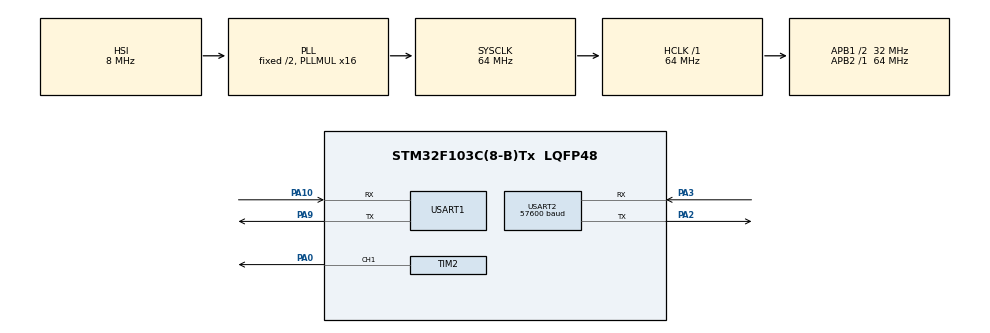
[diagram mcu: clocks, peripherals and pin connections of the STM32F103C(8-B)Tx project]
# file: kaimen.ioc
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Mcu.Family=STM32F1
Mcu.Name=STM32F103C(8-B)Tx
Mcu.Package=LQFP48
NVIC.PriorityGroup=NVIC_PRIORITYGROUP_4
NVIC.USART1_IRQn=true\:0\:0\:false\:false\:true\:true\:true
NVIC.USART2_IRQn=true\:0\:0\:false\:false\:true\:true\:true
PA0-WKUP.Signal=S_TIM2_CH1_ETR
PA10.Mode=Asynchronous
PA10.Signal=USART1_RX
PA13.Mode=Serial_Wire
PA13.Signal=SYS_JTMS-SWDIO
PA14.Mode=Serial_Wire
PA14.Signal=SYS_JTCK-SWCLK
PA2.Mode=Asynchronous
PA2.Signal=USART2_TX
PA3.Mode=Asynchronous
PA3.Signal=USART2_RX
PA9.Mode=Asynchronous
PA9.Signal=USART1_TX
ProjectManager.HeapSize=0x200
ProjectManager.StackSize=0x400
ProjectManager.TargetToolchain=MDK-ARM V5.27
RCC.AHBFreq_Value=64000000
RCC.APB1CLKDivider=RCC_HCLK_DIV2
RCC.APB1Freq_Value=32000000
RCC.APB1TimFreq_Value=64000000
RCC.APB2Freq_Value=64000000
RCC.APB2TimFreq_Value=64000000
RCC.HCLKFreq_Value=64000000
RCC.PLLMUL=RCC_PLL_MUL16
RCC.SYSCLKFreq_VALUE=64000000
RCC.SYSCLKSource=RCC_SYSCLKSOURCE_PLLCLK
RCC.USBFreq_Value=64000000
SH.S_TIM2_CH1_ETR.0=TIM2_CH1,PWM Generation1 CH1
TIM2.AutoReloadPreload=TIM_AUTORELOAD_PRELOAD_ENABLE
TIM2.Channel-PWM\ Generation1\ CH1=TIM_CHANNEL_1
TIM2.OCFastMode_PWM-PWM\ Generation1\ CH1=TIM_OCFAST_ENABLE
TIM2.Period=1000-1
TIM2.Prescaler=64-1
TIM2.Pulse-PWM\ Generation1\ CH1=2000
USART1.VirtualMode=VM_ASYNC
USART2.BaudRate=57600
USART2.VirtualMode=VM_ASYNC
VP_TIM2_VS_ClockSourceINT.Mode=Internal
board=custom

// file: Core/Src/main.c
/* USER CODE BEGIN Header */
/**
  ******************************************************************************
  * @file           : main.c
  * @brief          : Main program body
  ******************************************************************************
  * @attention
  *
  * <h2><center>&copy; Copyright (c) 2021 STMicroelectronics.
  * All rights reserved.</center></h2>
  *
  * This software component is licensed by ST under BSD 3-Clause license,
  * the "License"; You may not use this file except in compliance with the
  * License. You may obtain a copy of the License at:
  *                        opensource.org/licenses/BSD-3-Clause
  *
  ******************************************************************************
  */
/* USER CODE END Header */
#include "main.h"

/* USER CODE BEGIN Includes */
#include "manager.h"
#include "string.h"
#include "as608.h"
/* USER CODE END Includes */

/* USER CODE BEGIN PD */
uint8_t UartRe,UartRe_Buf[255],UARTReED=0;
uint8_t ID[100][5],ID_num=0;
uint8_t Open=0,Flag=0;
/* USER CODE END PD */

TIM_HandleTypeDef htim2;

UART_HandleTypeDef huart1;
UART_HandleTypeDef huart2;

void SystemClock_Config(void);
static void MX_GPIO_Init(void);
static void MX_TIM2_Init(void);
static void MX_USART1_UART_Init(void);
static void MX_USART2_UART_Init(void);

/* USER CODE BEGIN 0 */
void MainEventHandler(uint16_t event)
{
		char Del[30]="",Dell[30]="";
		char Car[5]="",flag=0;
	switch(event)
	{
		case EVENT_DEL:
			for(uint8_t i=0;i<100;++i)
			if(!strcmp((char *)ID[i],(char *)UartRe_Buf))
			{
					strcpy((char *)ID[i],"");
					flag=1;
					ID_num--;
					break;
			}
			if(!flag)
					HAL_UART_Transmit_IT(&huart1,(uint8_t*)"DEL unsuccessful!",16);
			else
					HAL_UART_Transmit_IT(&huart1,(uint8_t*)"DEL succesful!",14);
		break;

		case EVENT_ADD:

			for(uint8_t i=0;i<100;++i)
			{
				if(!strcmp((char *)ID[i],""))
				{
					strcpy((char *)ID[i],(char *)UartRe_Buf);
					flag=1;
					ID_num++;
					break;
				}
				if(!strcmp((char *)ID[i],(char *)UartRe_Buf))
				{
					flag=1;
					break;
				}
			}
			if(!flag)
					HAL_UART_Transmit_IT(&huart1,(uint8_t*)"ADD unsuccessful!",16);
			else
					HAL_UART_Transmit_IT(&huart1,(uint8_t*)"ADD succesful!",14);
		break;

		case EVENT_open:
				HAL_TIM_PWM_Start(&htim2, TIM_CHANNEL_1);
  //HAL_Delay(1000);

					htim2.Instance->CCR1=78;
					HAL_Delay(1200);
					htim2.Instance->CCR1=200;
					HAL_Delay(1000);

				HAL_TIM_PWM_Stop(&htim2, TIM_CHANNEL_1);
		break;

		case EVENT_OPEN:
			for(uint8_t i=0;i<100;++i)
			if(strcmp((char *)ID[i],"") && !strcmp((char *)ID[i],(char *)UartRe_Buf))
			{
				HAL_TIM_PWM_Start(&htim2, TIM_CHANNEL_1);
  //HAL_Delay(1000);

					htim2.Instance->CCR1=78;
					HAL_Delay(1200);
					htim2.Instance->CCR1=200;
					HAL_Delay(1000);

				HAL_TIM_PWM_Stop(&htim2, TIM_CHANNEL_1);

					flag=1;
					break;
			}
			if(!flag)
					HAL_UART_Transmit_IT(&huart1,(uint8_t*)"Your ID is Error!",17);
			else
					HAL_UART_Transmit_IT(&huart1,(uint8_t*)"Welcom!",7);
		break;

		case EVENT_USART:

				if(!strcmp((char *)UartRe_Buf,"Open") && Flag)
				{
					Flag=0;
					HAL_UART_Transmit_IT(&huart1,(uint8_t*)"Please Enter your ID",20);
					HAL_Delay(200);
					PushEvent(EVENT_OPEN);
					break;
				}

				if(!strcmp((char *)UartRe_Buf,"Addn") && Flag)
				{
					Flag=0;
					HAL_UART_Transmit_IT(&huart1,(uint8_t*)"Please Enter your ID",20);
					HAL_Delay(200);
					PushEvent(EVENT_ADD);
					break;
				}
				if(!strcmp((char *)UartRe_Buf,"Addi") && Flag)
				{
					Flag=0;
					Add_FR();
					break;
				}
				if(!strcmp((char *)UartRe_Buf,"Kaim") && Flag)
				{
					Flag=0;
					HAL_Delay(200);
					HAL_UART_Transmit_IT(&huart1,(uint8_t*)"Enter:",6);

					press_FR();
					break;
				}
				if(!strcmp((char *)UartRe_Buf,"Delt") && Flag)
				{
					Flag=0;
					HAL_UART_Transmit_IT(&huart1,(uint8_t*)"Please Enter your ID",20);
					HAL_Delay(200);
					PushEvent(EVENT_DEL);
					break;
				}

				if(!strcmp((char *)UartRe_Buf,"0113"))
				{
					Flag=1;
					HAL_UART_Transmit_IT(&huart1,(uint8_t*)"Welcome Admin!",14);
					break;
				}
				HAL_UART_Transmit_IT(&huart1,(uint8_t*)"PIN Error!",10);
		break;

		case EVENT_FR:
			press_FR();
		break;
	}
	//break;

}
uint8_t UartRe2;
void HAL_UART_RxCpltCallback(UART_HandleTypeDef *huart)
{
		if(huart->Instance == USART1)
		{
			UNUSED(huart1);
			UartRe_Buf[UARTReED]=UartRe;
			if(UARTReED<4)UARTReED++;
			if(UartRe=='R')
			{
				UARTReED=0;
			}

			if(UARTReED == 4)
			{
				PushEvent(EVENT_USART);
				UARTReED=0;
			}
			HAL_UART_Receive_IT(&huart1,(uint8_t*)&UartRe,1);
		}

//		if(huart->Instance == USART2)
//		{
//			UNUSED(huart2);
////			if(USART2_RX_STA<USART2_MAX_RECV_LEN)
////				USART2_RX_BUF[USART2_RX_STA++]=UartRe2;
////			if(USART2_RX_STA == USART2_MAX_RECV_LEN)
////			{
////				USART2_RX_STA = 1<<15;
////			}
////			HAL_UART_Receive_IT(&huart2,(uint8_t*)&UartRe2,1);
//		}
}
/* USER CODE END 0 */

int main(void)
{

  /* MCU Configuration--------------------------------------------------------*/

  /* Reset of all peripherals, Initializes the Flash interface and the Systick. */
  HAL_Init();

  /* Configure the system clock */
  SystemClock_Config();

  /* Initialize all configured peripherals */
  MX_GPIO_Init();
  MX_TIM2_Init();
  MX_USART1_UART_Init();
  MX_USART2_UART_Init();
  /* USER CODE BEGIN 2 */
//	HAL_TIM_PWM_Start(&htim2, TIM_CHANNEL_1);

	HAL_UART_Receive_IT(&huart1, (uint8_t*)&UartRe, 1);
	PushEvent(EVENT_open);
//	HAL_UART_Receive_IT(&huart2,(uint8_t*)&UartRe2,1);
  /* USER CODE END 2 */

  /* Infinite loop */
  /* USER CODE BEGIN WHILE */
  while (1)
  {
		uint8_t event = PopEvent();

		/*�¼�����*/
		if(event) MainEventHandler(event);
		//else
    /* USER CODE END WHILE */

  }
}

void SystemClock_Config(void)
{
  RCC_OscInitTypeDef RCC_OscInitStruct = {0};
  RCC_ClkInitTypeDef RCC_ClkInitStruct = {0};

  /** Initializes the RCC Oscillators according to the specified parameters
  * in the RCC_OscInitTypeDef structure.
  */
  RCC_OscInitStruct.OscillatorType = RCC_OSCILLATORTYPE_HSI;
  RCC_OscInitStruct.HSIState = RCC_HSI_ON;
  RCC_OscInitStruct.HSICalibrationValue = RCC_HSICALIBRATION_DEFAULT;
  RCC_OscInitStruct.PLL.PLLState = RCC_PLL_ON;
  RCC_OscInitStruct.PLL.PLLSource = RCC_PLLSOURCE_HSI_DIV2;
  RCC_OscInitStruct.PLL.PLLMUL = RCC_PLL_MUL16;
  if (HAL_RCC_OscConfig(&RCC_OscInitStruct) != HAL_OK)
  {
    Error_Handler();
  }
  /** Initializes the CPU, AHB and APB buses clocks
  */
  RCC_ClkInitStruct.ClockType = RCC_CLOCKTYPE_HCLK|RCC_CLOCKTYPE_SYSCLK
                              |RCC_CLOCKTYPE_PCLK1|RCC_CLOCKTYPE_PCLK2;
  RCC_ClkInitStruct.SYSCLKSource = RCC_SYSCLKSOURCE_PLLCLK;
  RCC_ClkInitStruct.AHBCLKDivider = RCC_SYSCLK_DIV1;
  RCC_ClkInitStruct.APB1CLKDivider = RCC_HCLK_DIV2;
  RCC_ClkInitStruct.APB2CLKDivider = RCC_HCLK_DIV1;

  if (HAL_RCC_ClockConfig(&RCC_ClkInitStruct, FLASH_LATENCY_2) != HAL_OK)
  {
    Error_Handler();
  }
}

static void MX_TIM2_Init(void)
{

  TIM_ClockConfigTypeDef sClockSourceConfig = {0};
  TIM_MasterConfigTypeDef sMasterConfig = {0};
  TIM_OC_InitTypeDef sConfigOC = {0};

  /* USER CODE BEGIN TIM2_Init 1 */
  //64/ 640 /200/1000 = 50HZ = 20ms   ��� 0.5 - 2.5ms
  /* USER CODE END TIM2_Init 1 */
  htim2.Instance = TIM2;
  htim2.Init.Prescaler = 640-1;
  htim2.Init.CounterMode = TIM_COUNTERMODE_UP;
  htim2.Init.Period = 2000-1;
  htim2.Init.ClockDivision = TIM_CLOCKDIVISION_DIV1;
  htim2.Init.AutoReloadPreload = TIM_AUTORELOAD_PRELOAD_ENABLE;
  if (HAL_TIM_Base_Init(&htim2) != HAL_OK)
  {
    Error_Handler();
  }
  sClockSourceConfig.ClockSource = TIM_CLOCKSOURCE_INTERNAL;
  if (HAL_TIM_ConfigClockSource(&htim2, &sClockSourceConfig) != HAL_OK)
  {
    Error_Handler();
  }
  if (HAL_TIM_PWM_Init(&htim2) != HAL_OK)
  {
    Error_Handler();
  }
  sMasterConfig.MasterOutputTrigger = TIM_TRGO_RESET;
  sMasterConfig.MasterSlaveMode = TIM_MASTERSLAVEMODE_DISABLE;
  if (HAL_TIMEx_MasterConfigSynchronization(&htim2, &sMasterConfig) != HAL_OK)
  {
    Error_Handler();
  }
  sConfigOC.OCMode = TIM_OCMODE_PWM1;
  sConfigOC.Pulse = 200;
  sConfigOC.OCPolarity = TIM_OCPOLARITY_HIGH;
  sConfigOC.OCFastMode = TIM_OCFAST_ENABLE;
  if (HAL_TIM_PWM_ConfigChannel(&htim2, &sConfigOC, TIM_CHANNEL_1) != HAL_OK)
  {
    Error_Handler();
  }
  HAL_TIM_MspPostInit(&htim2);

}

static void MX_USART1_UART_Init(void)
{

  huart1.Instance = USART1;
  huart1.Init.BaudRate = 9600;
  huart1.Init.WordLength = UART_WORDLENGTH_8B;
  huart1.Init.StopBits = UART_STOPBITS_1;
  huart1.Init.Parity = UART_PARITY_NONE;
  huart1.Init.Mode = UART_MODE_TX_RX;
  huart1.Init.HwFlowCtl = UART_HWCONTROL_NONE;
  huart1.Init.OverSampling = UART_OVERSAMPLING_16;
  if (HAL_UART_Init(&huart1) != HAL_OK)
  {
    Error_Handler();
  }

}

static void MX_USART2_UART_Init(void)
{

  huart2.Instance = USART2;
  huart2.Init.BaudRate = 115200;
  huart2.Init.WordLength = UART_WORDLENGTH_8B;
  huart2.Init.StopBits = UART_STOPBITS_1;
  huart2.Init.Parity = UART_PARITY_NONE;
  huart2.Init.Mode = UART_MODE_TX_RX;
  huart2.Init.HwFlowCtl = UART_HWCONTROL_NONE;
  huart2.Init.OverSampling = UART_OVERSAMPLING_16;
  if (HAL_UART_Init(&huart2) != HAL_OK)
  {
    Error_Handler();
  }

}

static void MX_GPIO_Init(void)
{

  /* GPIO Ports Clock Enable */
  __HAL_RCC_GPIOA_CLK_ENABLE();

}

void Error_Handler(void)
{
  __disable_irq();
  while (1)
  {
  }
}

/************************ (C) COPYRIGHT STMicroelectronics *****END OF FILE****/
